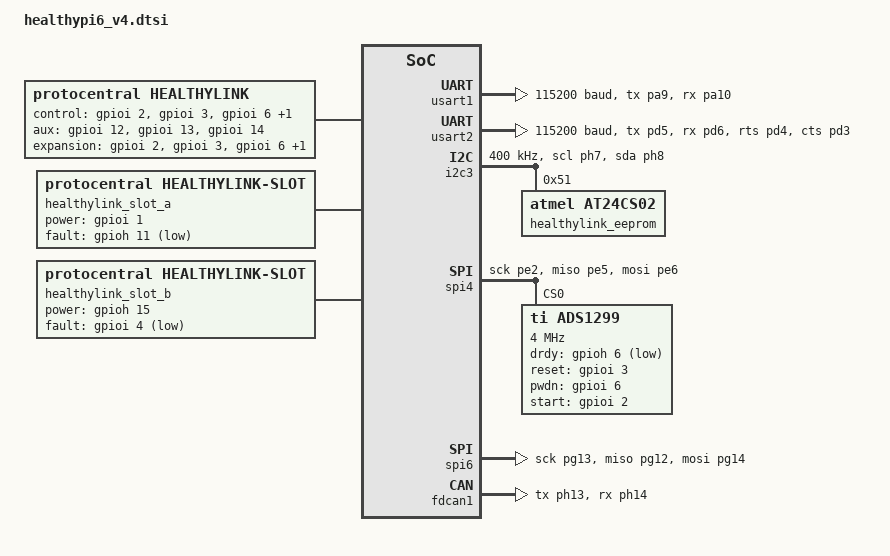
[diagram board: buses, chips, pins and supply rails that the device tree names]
/*
 * Copyright (c) 2019 Linaro Limited
 * Copyright (c) 2025-2026 ProtoCentral
 *
 * SPDX-License-Identifier: Apache-2.0
 */

#include <zephyr/dt-bindings/input/input-event-codes.h>
#include <zephyr/dt-bindings/gpio/gpio.h>
#include <zephyr/dt-bindings/i2c/i2c.h>
#include <zephyr/dt-bindings/clock/stm32h7_clock.h>

&usart1 {
	pinctrl-0 = <&usart1_tx_pa9 &usart1_rx_pa10>;
	pinctrl-names = "default";
	current-speed = <115200>;
};

/*
 * USART2 - HealthyLink Expansion UART with Hardware Flow Control
 * This is the primary serial interface for HealthyLink modules.
 * RTS/CTS enables reliable high-speed communication with module MCUs.
 */
&usart2 {
	pinctrl-0 = <&usart2_tx_pd5 &usart2_rx_pd6 &usart2_rts_pd4 &usart2_cts_pd3>;
	pinctrl-names = "default";
	current-speed = <115200>;
};

&mailbox {
	status = "okay";
};

&rcc {
	d1cpre = <1>;
	hpre = <2>;
	d1ppre = <2>;
	d2ppre1 = <2>;
	d2ppre2 = <2>;
	d3ppre = <2>;
};

/*
 * HealthyLink Expansion Port Base Definitions (v4)
 *
 * Interface Assignments:
 *   SPI4:    PE2 (SCK), PE5 (MISO), PE6 (MOSI), PE4 (NSS) - Primary high-speed
 *   SPI6:    PG13 (SCK), PG12 (MISO), PG14 (MOSI), PA15 (NSS) - Secondary
 *   USART2:  PD5 (TX), PD6 (RX), PD4 (RTS), PD3 (CTS) - With HW flow control
 *   FDCAN1:  PH13 (TX), PH14 (RX) - CAN-FD interface
 *   USB_FS:  PA11 (DM), PA12 (DP) - USB Host (12 Mbps, disabled by default)
 *   I2C3:    PH7 (SCL), PH8 (SDA) - Module EEPROM
 *   ADC:     11 channels on PA1-PA7, PC0, PC1, PC4, PC5 (defined in M7 DTS)
 *
 * GPIO Assignments:
 *   Module Control:  PI2 (START), PI3 (RESET), PI6 (PWDN), PH6 (DRDY)
 *   Module Power:    PI1 (EN_MOD_A), PH15 (EN_MOD_B) - per-slot load switches
 *   Module Fault:    PH11 (MOD_A_FLT), PI4 (MOD_B_FLT) - load-switch fault, active low
 *   Module Detect:   none - presence/identity via the slot ID EEPROM (I2C ACK),
 *                    no dedicated detect GPIO (PI5 freed)
 *   Aux GPIO:        PI12, PI13, PI14 - General purpose expansion
 *   Note: StackLink (PI0/PI1/PI4 on v3) is module-to-module only and not
 *         wired to the main MCU; on v4 PI1/PI4 are reused for module power/fault.
 *
 * v4 is electrically identical to v3: the pinout below is carried over
 * from v3 unchanged. The v3 pin changes (relative to v2) it inherits are:
 *   - ADS1299 DRDY moved from PG12 to PH6 (frees PG12 for SPI6 MISO)
 *   - SPI6 CS changed from PA10 to PA15 (hardware SPI6_NSS function)
 *   - SPI6 enabled by default (no longer blocked by DRDY conflict)
 *   - FDCAN1 enabled by default
 *   - Removed PA9/PA10 from expansion-gpios (conflict with USART1 console)
 * v4-specific change: added per-slot module power switches (PI1/PH15) and
 * fault inputs (PH11/PI4); StackLink GPIOs dropped (not main-MCU connected);
 * module presence/identity is via the slot ID EEPROM, so the v3 MOD_PRESENT
 * detect GPIO (PI5) is dropped.
 *   - HealthyBridge reset moved from PA11 to PA8 (frees USB_FS pins)
 *   - USB OTG FS reserved for USB Host modules (PA11/PA12)
 */

/* I2C3 for module identification EEPROM */
&i2c3 {
	status = "okay";
	pinctrl-0 = <&i2c3_scl_ph7 &i2c3_sda_ph8>;
	pinctrl-names = "default";
	clock-frequency = <I2C_BITRATE_FAST>;

	/* Module ID EEPROM - Microchip AT24CS02-MAHM
	 *
	 * I2C address: 0x51. The AT24CS02's 7-bit base address is 0b1010_xxx;
	 * the low 3 bits map to the A0/A1/A2 strap pins. On the v4 slot
	 * connector A0 is tied HIGH and A1/A2 are tied LOW, giving the
	 * memory block address 0b1010_001 = 0x51 (the chip's read-only
	 * factory-serial block then lives at 0x59 = 0b1011_001, unused here).
	 *
	 * Pagesize is 16 (AT24CS02-family default), wider than the 8-byte
	 * page used on the older 24AA02 sketches in v2. The "atmel,at24"
	 * fallback compatible keeps it driven by the generic Zephyr AT24
	 * driver.
	 */
	healthylink_eeprom: eeprom@51 {
		compatible = "atmel,at24cs02", "atmel,at24";
		reg = <0x51>;
		size = <256>;
		pagesize = <16>;
		address-width = <8>;
		timeout = <5>;  /* tWR = 5 ms */
		status = "okay";
	};
};

/*
 * Default HealthyLink module type for auto-provisioning a blank EEPROM.
 * Without a 'chosen { healthylink-module = ...; }' entry the auto-provision
 * code in drivers/misc/healthylink/healthylink_core.c falls through with
 * DT_MODULE_ID = 0, sees the blank EEPROM, and aborts with "-ENOENT" because
 * it can't decide what to write. On v4 the only attached module today is the
 * HealthyLink Compute (NPU), so default the chosen module to HealthyLink Compute.
 * The healthylink-compute.overlay redefines the chosen entry when a
 * future build wants different defaults - this entry only sets the boot-time
 * baseline.
 */
/ {
	healthylink_default_compute: healthylink-compute-default {
		compatible = "protocentral,healthylink-compute";
		status = "okay";
	};

	chosen {
		healthylink-module = &healthylink_default_compute;
	};
};

/*
 * SPI4 for HealthyLink high-speed expansion
 * Enabled by default with ADS1299 child node using deferred-init.
 * The driver will only initialize if EEPROM identifies EEG-8CH module.
 *
 * Note: SPI4 uses PE2 which conflicts with QUADSPI IO2 on v2.
 * In v4, QSPI IO2 is routed to PF7 instead, so no conflict.
 */
&spi4 {
	status = "okay";
	/*
	 * Kernel clock stays at the H7 reset default (PLL1_Q via the SPI45
	 * mux). An explicit PLL2_Q override here wedged spi_transceive at
	 * driver setup time; add one back only if a module needs a specific
	 * kernel clock AND the routing is verified on hardware.
	 */
	pinctrl-0 = <&spi4_sck_pe2 &spi4_miso_pe5 &spi4_mosi_pe6>;
	pinctrl-names = "default";
	/*
	 * Soft NSS via st,soft-nss, NOT cs-gpios. Both select soft-NSS mode,
	 * but cs-gpios also makes the SPI subsystem manage the CS pins, and
	 * that path empirically wedges SPI4 on this board (the first
	 * spi_transceive hangs at driver setup, before any user code runs).
	 *
	 * st,soft-nss leaves CS GPIO management to the caller: each SPI4 user
	 * supplies its own CS through spi_config.cs.gpio (slot A CS1 = PE4,
	 * CS2 = PE3).
	 */
	st,soft-nss;

	/*
	 * ADS1299 8-Channel EEG AFE (HealthyLink EEG-8CH Module)
	 * Uses deferred-init: driver skeleton loads at boot, but hardware
	 * is only initialized when ads1299_hw_init() is called after
	 * EEPROM identifies the connected module as EEG-8CH (0x0001).
	 *
	 * v4 change: DRDY moved from PG12 to PH6
	 */
	ads1299: ads1299@0 {
		compatible = "ti,ads1299";
		reg = <0>;
		spi-max-frequency = <4000000>;
		drdy-gpios = <&gpioh 6 GPIO_ACTIVE_LOW>;    /* v4: PH6 (was PG12 in v2) */
		reset-gpios = <&gpioi 3 GPIO_ACTIVE_HIGH>;
		pwdn-gpios = <&gpioi 6 GPIO_ACTIVE_HIGH>;
		start-gpios = <&gpioi 2 GPIO_ACTIVE_HIGH>;
		gain = <24>;      /* EEG standard gain */
		sample-rate = <250>;
		bias-enabled;     /* Enable BIAS/DRL for common-mode rejection */
		srb1-enabled;     /* Enable SRB1: REF electrode connected to SRB1 pin */
		status = "okay";
		zephyr,deferred-init;
	};
};

/*
 * SPI6 for secondary expansion (enabled in v4)
 * v4: PG12 freed from ADS1299 DRDY conflict, SPI6 MISO can now use PG12.
 * CS changed from PA10 to PA15 (hardware SPI6_NSS alternate function).
 */
&spi6 {
	status = "okay";
	pinctrl-0 = <&spi6_sck_pg13 &spi6_miso_pg12 &spi6_mosi_pg14>;
	pinctrl-names = "default";
	cs-gpios = <&gpioa 15 GPIO_ACTIVE_LOW>;  /* v4: PA15 (was PA10 in v2) */
};

/*
 * FDCAN1 for CAN-FD interface (enabled in v4)
 * v2 had this disabled by default; v4 enables it for HealthyLink CAN modules.
 */
&fdcan1 {
	status = "okay";
	pinctrl-0 = <&fdcan1_tx_ph13 &fdcan1_rx_ph14>;
	pinctrl-names = "default";
	sample-point = <875>;
	sample-point-data = <875>;
};

/*
 * USB OTG FS for HealthyLink USB Host modules (disabled by default)
 *
 * When enabled, provides USB Full-Speed Host capability (12 Mbps) for:
 *   - USB cameras (eye tracking)
 *   - USB storage devices
 *   - USB HID (response buttons, keyboards)
 *   - USB-Serial adapters
 *
 * When disabled, PA11/PA12 can be used as general purpose GPIO.
 * Enable in module overlay with: status = "okay";
 *
 * Note: HealthyBridge reset was moved from PA11 to PA8 to free these pins.
 * Module must provide 5V VBUS power with overcurrent protection.
 */
&usbotg_fs {
	status = "disabled";
	pinctrl-0 = <&usb_otg_fs_dm_pa11 &usb_otg_fs_dp_pa12>;
	pinctrl-names = "default";
};

/* HealthyLink controller node */
/ {
	healthylink: healthylink {
		compatible = "protocentral,healthylink";
		status = "okay";
		zephyr,deferred-init;
		eeprom = <&healthylink_eeprom>;

		/*
		 * Module Control GPIOs (directly control module hardware)
		 * These are directly wired to the ADS1299 on EEG modules.
		 */
		control-gpios = <&gpioi 2 GPIO_ACTIVE_HIGH>,   /* START */
		                <&gpioi 3 GPIO_ACTIVE_HIGH>,   /* RESET */
		                <&gpioi 6 GPIO_ACTIVE_HIGH>,   /* PWDN */
		                <&gpioh 6 GPIO_ACTIVE_LOW>;    /* DRDY (active low) */

		/*
		 * StackLink (module-to-module) bus is NOT wired to the main MCU on
		 * v4 - it runs only between stacked HealthyLink modules - so no
		 * stacklink-gpios are exposed here. This frees PI0, and PI1/PI4 are
		 * reused for the per-slot module power switches / fault inputs
		 * (see the healthylink_slot_a / healthylink_slot_b nodes below).
		 */

		/*
		 * Module Detection: EEPROM-based only - presence and identity are
		 * determined by probing the slot ID EEPROM over I2C (ACK = present,
		 * contents = module type). No detect GPIO is used (v3 MOD_PRESENT on
		 * PI5 is dropped on v4).
		 */

		/*
		 * Auxiliary GPIO for module-specific functions
		 * General purpose I/O exposed on the expansion connector
		 */
		aux-gpios = <&gpioi 12 GPIO_ACTIVE_HIGH>,
		            <&gpioi 13 GPIO_ACTIVE_HIGH>,
		            <&gpioi 14 GPIO_ACTIVE_HIGH>;

		/* Legacy expansion-gpios for backward compatibility */
		expansion-gpios = <&gpioi 2 GPIO_ACTIVE_HIGH>,
		                  <&gpioi 3 GPIO_ACTIVE_HIGH>,
		                  <&gpioi 6 GPIO_ACTIVE_HIGH>,
		                  <&gpioh 6 GPIO_ACTIVE_LOW>;
	};

	/*
	 * HealthyLink expansion slots (v4) - one node per physical module slot.
	 *
	 * Each slot owns only the static, connector-level resources: its load-
	 * switch enable (power), the switch fault line, and a reference to its ID
	 * EEPROM. Presence and module identity are detected via the EEPROM (I2C
	 * ACK = module seated, contents = module type) - there is no detect GPIO.
	 * The module's functional chip (e.g. ADS1299 EEG AFE on SPI4) is a
	 * separate bus device with its own binding + zephyr,deferred-init, brought
	 * up at runtime once the slot EEPROM identifies the module - so one
	 * firmware image still auto-detects any module. Control GPIOs
	 * (START/RESET/PWDN/DRDY) belong to the module chip node, not the slot.
	 *
	 *   Slot A: EN_MOD_A=PI1, MOD_A_FLT=PH11, EEPROM=healthylink_eeprom
	 *   Slot B: EN_MOD_B=PH15, MOD_B_FLT=PI4
	 */
	healthylink_slot_a: healthylink-slot-a {
		compatible = "protocentral,healthylink-slot";
		status = "okay";
		slot-label = "A";
		power-gpios = <&gpioi 1 GPIO_ACTIVE_HIGH>;                  /* EN_MOD_A */
		fault-gpios = <&gpioh 11 (GPIO_ACTIVE_LOW | GPIO_PULL_UP)>; /* MOD_A_FLT */
		eeprom = <&healthylink_eeprom>;
	};

	healthylink_slot_b: healthylink-slot-b {
		compatible = "protocentral,healthylink-slot";
		status = "okay";
		slot-label = "B";
		power-gpios = <&gpioh 15 GPIO_ACTIVE_HIGH>;                /* EN_MOD_B */
		fault-gpios = <&gpioi 4 (GPIO_ACTIVE_LOW | GPIO_PULL_UP)>; /* MOD_B_FLT */
		/*
		 * TODO(v4 hw): slot B has only EN/FLT wired so far. Add its `eeprom`
		 * phandle (slot-B ID EEPROM - distinct I2C address or bus, needed so
		 * detection can tell slot B apart from slot A), plus the slot-B module
		 * chip as a deferred bus device (same pattern as the EEG ADS1299).
		 */
	};

	chosen {
		healthylink-eeprom = &healthylink_eeprom;
	};
};
